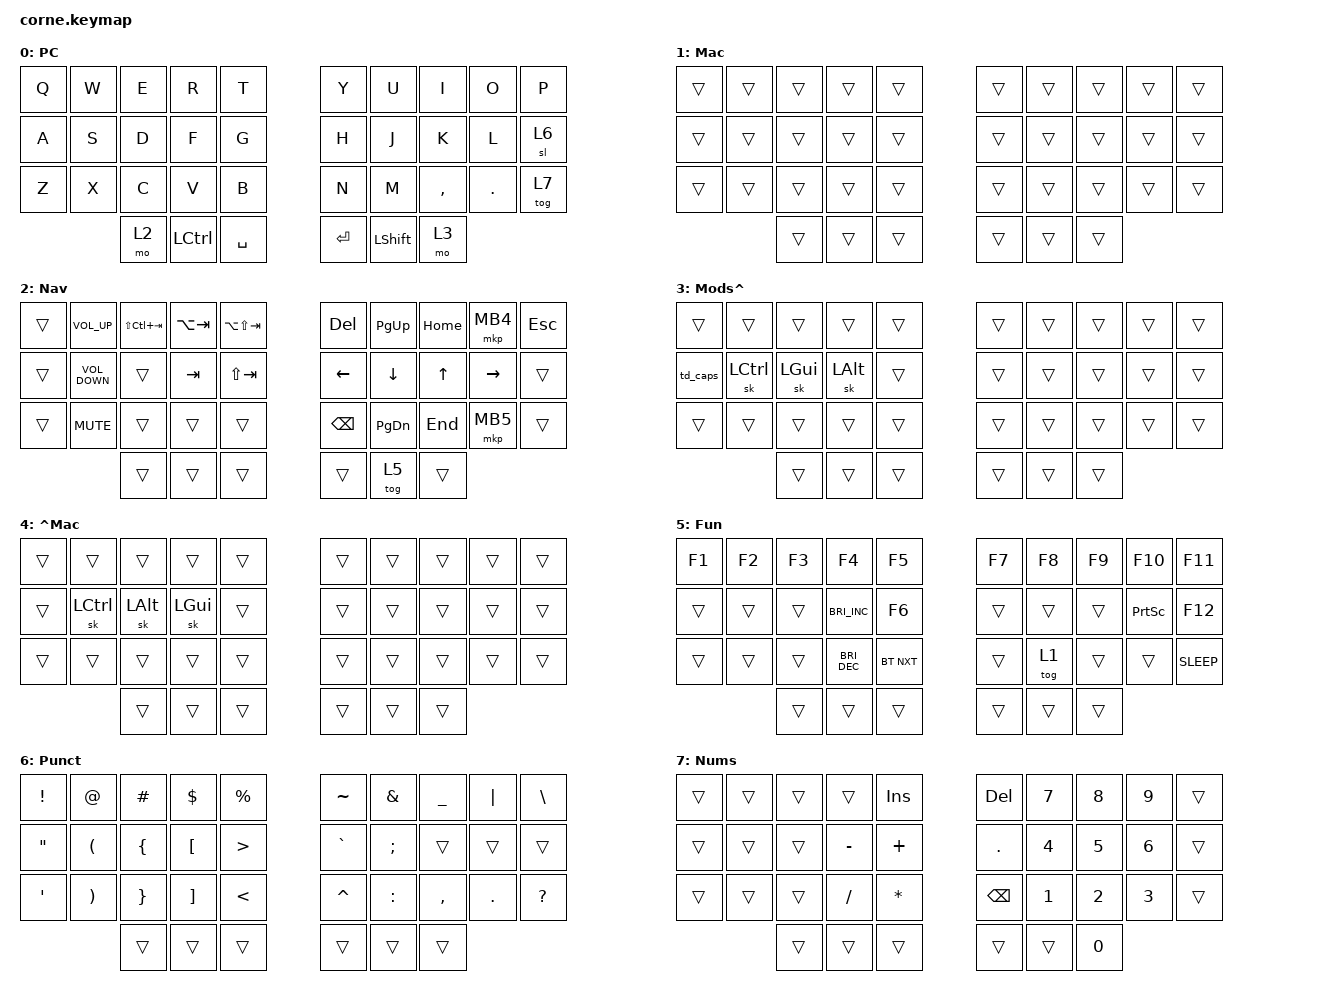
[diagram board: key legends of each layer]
#include <dt-bindings/zmk/mouse.h>
#include <behaviors.dtsi>
#include <dt-bindings/zmk/bt.h>
#include <dt-bindings/zmk/keys.h>
#include <dt-bindings/zmk/pointing.h>

/ {
    chosen { zmk,matrix_transform = &five_column_transform; };

    conditional_layers {
        compatible = "zmk,conditional-layers";

        mac_override {
            if-layers = <1 3>;
            then-layer = <4>;
        };
    };

    behaviors {
        td_caps: td_caps {
            compatible = "zmk,behavior-tap-dance";
            label = "TD_CAPS";
            #binding-cells = <0>;
            tapping-term-ms = <300>;
            bindings = <&kp LEFT_SHIFT>, <&kp CAPSLOCK>;
        };
    };

    combos {
        compatible = "zmk,combos";

        cmd_home {
            bindings = <&sk LEFT_COMMAND>;
            key-positions = <13 16>;
        };
    };

    keymap {
        compatible = "zmk,keymap";

        PC {
            bindings = <
  &kp Q  &kp W  &kp E  &kp R      &kp T        &kp Y    &kp U           &kp I      &kp O    &kp P
  &kp A  &kp S  &kp D  &kp F      &kp G        &kp H    &kp J           &kp K      &kp L    &sl 6
  &kp Z  &kp X  &kp C  &kp V      &kp B        &kp N    &kp M           &kp COMMA  &kp DOT  &tog 7
                &mo 2  &kp LCTRL  &kp SPACE    &kp RET  &kp LEFT_SHIFT  &mo 3
            >;

            label = "PC";
        };

        mac_flag {
            bindings = <
  &trans  &trans  &trans  &trans  &trans    &trans  &trans  &trans  &trans  &trans
  &trans  &trans  &trans  &trans  &trans    &trans  &trans  &trans  &trans  &trans
  &trans  &trans  &trans  &trans  &trans    &trans  &trans  &trans  &trans  &trans
                  &trans  &trans  &trans    &trans  &trans  &trans
            >;

            label = "Mac";
        };

        L_LR_NAV {
            bindings = <
  &trans  &kp C_VOLUME_UP    &kp LS(LC(TAB))  &kp LA(TAB)  &kp LA(LS(TAB))    &kp DEL        &kp PG_UP  &kp HOME  &mkp MB4   &kp ESC
  &trans  &kp C_VOLUME_DOWN  &trans           &kp TAB      &kp LS(TAB)        &kp LEFT       &kp DOWN   &kp UP    &kp RIGHT  &trans
  &trans  &kp K_MUTE         &trans           &trans       &trans             &kp BACKSPACE  &kp PG_DN  &kp END   &mkp MB5   &trans
                             &trans           &trans       &trans             &trans         &tog 5     &trans
            >;

            label = "Nav";
        };

        MODS {
            bindings = <
  &trans    &trans     &trans        &trans        &trans    &trans  &trans  &trans  &trans  &trans
  &td_caps  &sk LCTRL  &sk LEFT_GUI  &sk LEFT_ALT  &trans    &trans  &trans  &trans  &trans  &trans
  &trans    &trans     &trans        &trans        &trans    &trans  &trans  &trans  &trans  &trans
                       &trans        &trans        &trans    &trans  &trans  &trans
            >;

            label = "Mods^";
        };

        MAC {
            bindings = <
  &trans  &trans     &trans    &trans    &trans    &trans  &trans  &trans  &trans  &trans
  &trans  &sk LCTRL  &sk LALT  &sk LGUI  &trans    &trans  &trans  &trans  &trans  &trans
  &trans  &trans     &trans    &trans    &trans    &trans  &trans  &trans  &trans  &trans
                     &trans    &trans    &trans    &trans  &trans  &trans
            >;

            label = "^Mac";
        };

        FUN {
            bindings = <
  &kp F1  &kp F2  &kp F3  &kp F4                &kp F5        &kp F7  &kp F8  &kp F9  &kp F10          &kp F11
  &trans  &trans  &trans  &kp C_BRIGHTNESS_INC  &kp F6        &trans  &trans  &trans  &kp PRINTSCREEN  &kp F12
  &trans  &trans  &trans  &kp C_BRIGHTNESS_DEC  &bt BT_NXT    &trans  &tog 1  &trans  &trans           &kp K_SLEEP
                  &trans  &trans                &trans        &trans  &trans  &trans
            >;

            label = "Fun";
        };

        PUNCT {
            label = "Punct";
            bindings = <
  &kp EXCL           &kp AT                 &kp HASH         &kp DLLR  &kp PRCNT    &kp TILDE  &kp AMPS   &kp UNDER  &kp PIPE  &kp BACKSLASH
  &kp DOUBLE_QUOTES  &kp LEFT_PARENTHESIS   &kp LEFT_BRACE   &kp LBKT  &kp GT       &kp GRAVE  &kp SEMI   &trans     &trans    &trans
  &kp SQT            &kp RIGHT_PARENTHESIS  &kp RIGHT_BRACE  &kp RBKT  &kp LT       &kp CARET  &kp COLON  &kp COMMA  &kp DOT   &kp QUESTION
                                            &trans           &trans    &trans       &trans     &trans     &trans
            >;
        };

        NUMS {
            label = "Nums";
            bindings = <
  &trans  &trans  &trans  &trans     &kp INS     &kp DEL   &kp N7  &kp N8  &kp N9  &trans
  &trans  &trans  &trans  &kp MINUS  &kp PLUS    &kp DOT   &kp N4  &kp N5  &kp N6  &trans
  &trans  &trans  &trans  &kp FSLH   &kp STAR    &kp BSPC  &kp N1  &kp N2  &kp N3  &trans
                  &trans  &trans     &trans      &trans    &trans  &kp N0
            >;
        };
    };
};
